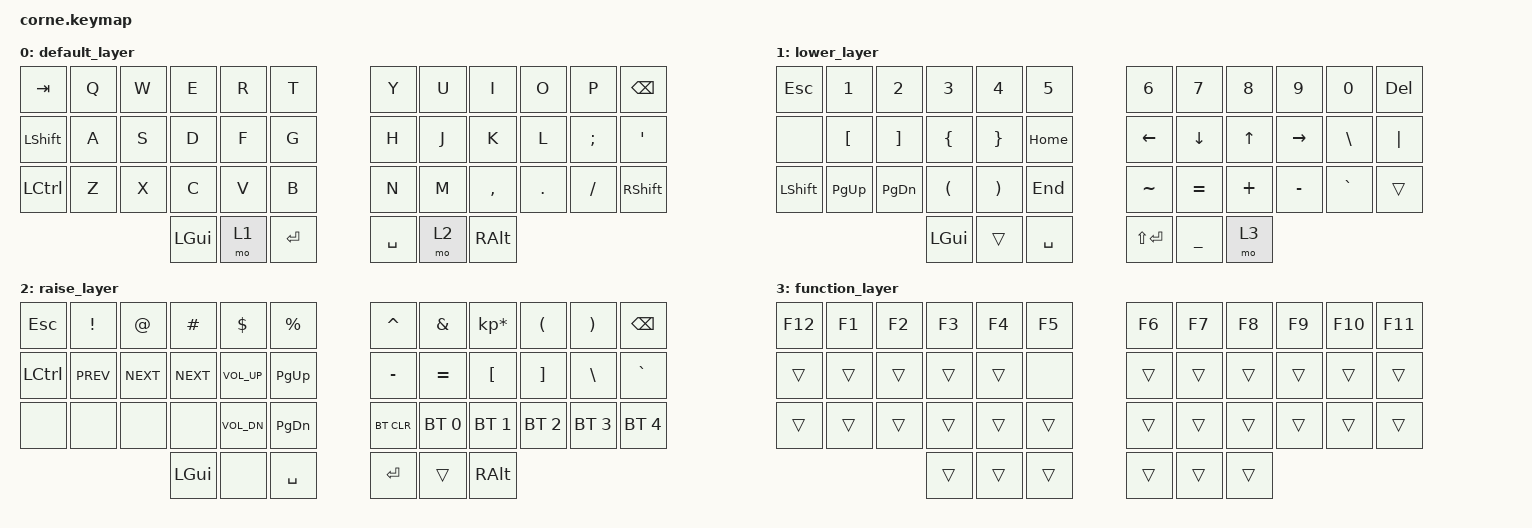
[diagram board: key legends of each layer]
/*
 * Copyright (c) 2020 The ZMK Contributors
 *
 * SPDX-License-Identifier: MIT
 */

#include <behaviors.dtsi>
#include <dt-bindings/zmk/bt.h>
#include <dt-bindings/zmk/keys.h>

/ {
    keymap {
        compatible = "zmk,keymap";

        default_layer {
            // -----------------------------------------------------------------------------------------
            // |  TAB |  Q  |  W  |  E  |  R  |  T  |   |  Y  |  U   |  I  |  O  |  P  | BKSP |
            // | CTRL |  A  |  S  |  D  |  F  |  G  |   |  H  |  J   |  K  |  L  |  ;  |  '   |
            // | SHFT |  Z  |  X  |  C  |  V  |  B  |   |  N  |  M   |  ,  |  .  |  /  | ESC  |
            //                    | GUI | LWR | SPC |   | ENT | RSE  | ALT |

            bindings = <
&kp TAB    &kp Q  &kp W  &kp E     &kp R  &kp T        &kp Y      &kp U  &kp I      &kp O    &kp P     &kp BSPC
&kp LSHFT  &kp A  &kp S  &kp D     &kp F  &kp G        &kp H      &kp J  &kp K      &kp L    &kp SEMI  &kp SQT
&kp LCTRL  &kp Z  &kp X  &kp C     &kp V  &kp B        &kp N      &kp M  &kp COMMA  &kp DOT  &kp FSLH  &kp RIGHT_SHIFT
                         &kp LGUI  &mo 1  &kp ENTER    &kp SPACE  &mo 2  &kp RALT
            >;
        };

        lower_layer {
            // -----------------------------------------------------------------------------------------
            // |  TAB |  1  |  2  |  3  |  4  |  5  |   |  6  |  7  |  8  |  9  |  0  | BKSP |
            // | BTCLR| BT1 | BT2 | BT3 | BT4 | BT5 |   | LFT | DWN |  UP | RGT |     |      |
            // | SHFT |     |     |     |     |     |   |     |     |     |     |     |      |
            //                    | GUI |     | SPC |   | ENT |     | ALT |

            bindings = <
&kp ESC    &kp N1            &kp N2             &kp N3                &kp N4                 &kp N5       &kp N6       &kp N7          &kp N8    &kp N9     &kp N0         &kp DEL
&none      &kp LEFT_BRACKET  &kp RIGHT_BRACKET  &kp LEFT_BRACE        &kp RIGHT_BRACE        &kp HOME     &kp LEFT     &kp DOWN        &kp UP    &kp RIGHT  &kp BACKSLASH  &kp PIPE
&kp LSHFT  &kp PAGE_UP       &kp PAGE_DOWN      &kp LEFT_PARENTHESIS  &kp RIGHT_PARENTHESIS  &kp END      &kp TILDE    &kp EQUAL       &kp PLUS  &kp MINUS  &kp GRAVE      &trans
                                                &kp LGUI              &trans                 &kp SPACE    &kp LS(RET)  &kp UNDERSCORE  &mo 3
            >;
        };

        raise_layer {
            // -----------------------------------------------------------------------------------------
            // |  TAB |  !  |  @  |  #  |  $  |  %  |   |  ^  |  &  |  *  |  (  |  )  | BKSP |
            // | CTRL |     |     |     |     |     |   |  -  |  =  |  [  |  ]  |  \  |  `   |
            // | SHFT |     |     |     |     |     |   |  _  |  +  |  {  |  }  | "|" |  ~   |
            //                    | GUI |     | SPC |   | ENT |     | ALT |

            bindings = <
&kp ESC    &kp EXCL    &kp AT      &kp HASH    &kp DLLR         &kp PRCNT        &kp CARET   &kp AMPS      &kp KP_MULTIPLY  &kp LPAR      &kp RPAR      &kp BSPC
&kp LCTRL  &kp C_PREV  &kp C_NEXT  &kp C_NEXT  &kp C_VOLUME_UP  &kp PAGE_UP      &kp MINUS   &kp EQUAL     &kp LBKT         &kp RBKT      &kp BSLH      &kp GRAVE
&none      &none       &none       &none       &kp C_VOL_DN     &kp PAGE_DOWN    &bt BT_CLR  &bt BT_SEL 0  &bt BT_SEL 1     &bt BT_SEL 2  &bt BT_SEL 3  &bt BT_SEL 4
                                   &kp LGUI    &none            &kp SPACE        &kp RET     &trans        &kp RALT
            >;
        };

        function_layer {
            bindings = <
&kp F12  &kp F1  &kp F2  &kp F3  &kp F4  &kp F5    &kp F6  &kp F7  &kp F8  &kp F9  &kp F10  &kp F11
&trans   &trans  &trans  &trans  &trans  &none     &trans  &trans  &trans  &trans  &trans   &trans
&trans   &trans  &trans  &trans  &trans  &trans    &trans  &trans  &trans  &trans  &trans   &trans
                         &trans  &trans  &trans    &trans  &trans  &trans
            >;
        };
    };
};
